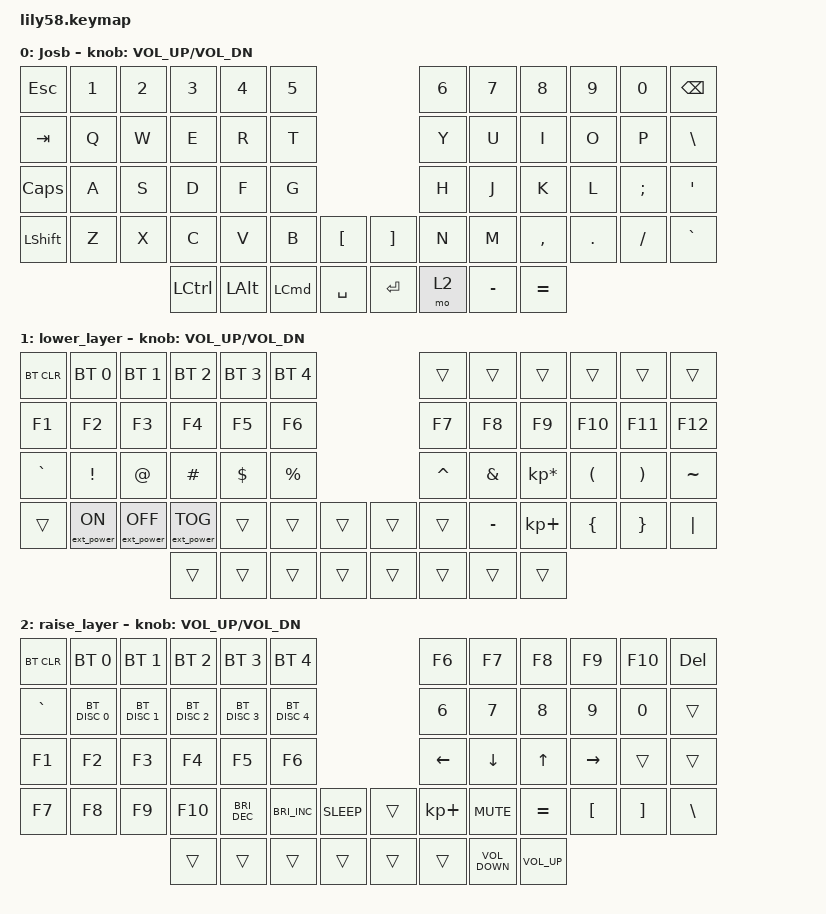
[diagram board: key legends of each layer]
/*
 * Copyright (c) 2020 The ZMK Contributors
 *
 * SPDX-License-Identifier: MIT
 */

#include <behaviors.dtsi>
#include <dt-bindings/zmk/bt.h>
#include <dt-bindings/zmk/ext_power.h>
#include <dt-bindings/zmk/keys.h>

/ {
    keymap {
        compatible = "zmk,keymap";

        Josb {
            // ------------------------------------------------------------------------------------------------------------
            // |  ESC  |  1  |  2  |  3   |  4   |  5   |                   |  6   |  7    |  8    |  9   |   0   |   `   |
            // |  TAB  |  Q  |  W  |  E   |  R   |  T   |                   |  Y   |  U    |  I    |  O   |   P   |   -   |
            // |  CTRL |  A  |  S  |  D   |  F   |  G   |                   |  H   |  J    |  K    |  L   |   ;   |   '   |
            // | SHIFT |  Z  |  X  |  C   |  V   |  B   |   "["  |  |  "]"  |  N   |  M    |  ,    |  .   |   /   | SHIFT |
            //                     | ALT  | GUI  | LOWER|  SPACE |  | ENTER | RAISE| BSPC  | GUI   |

            bindings = <
&kp ESC       &kp N1  &kp N2  &kp N3            &kp N4        &kp N5                                   &kp N6  &kp N7     &kp N8     &kp N9   &kp N0    &kp BACKSPACE
&kp TAB       &kp Q   &kp W   &kp E             &kp R         &kp T                                    &kp Y   &kp U      &kp I      &kp O    &kp P     &kp BACKSLASH
&kp CAPSLOCK  &kp A   &kp S   &kp D             &kp F         &kp G                                    &kp H   &kp J      &kp K      &kp L    &kp SEMI  &kp SQT
&kp LSHFT     &kp Z   &kp X   &kp C             &kp V         &kp B             &kp LBKT     &kp RBKT  &kp N   &kp M      &kp COMMA  &kp DOT  &kp FSLH  &kp GRAVE
                              &kp LEFT_CONTROL  &kp LEFT_ALT  &kp LEFT_COMMAND  &kp SPACE    &kp RET   &mo 2   &kp MINUS  &kp EQUAL
            >;

            sensor-bindings = <&inc_dec_kp C_VOL_UP C_VOL_DN>;
        };

        lower_layer {
            // ------------------------------------------------------------------------------------------------------------
            // | BTCLR | BT1 | BT2 |  BT3 |  BT4 |  BT5 |                   |      |       |       |      |       |       |
            // |  F1   |  F2 |  F3 |  F4  |  F5  |  F6  |                   |  F7  |  F8   |  F9   |  F10 |  F11  |  F12  |
            // |   `   |  !  |  @  |  #   |  $   |  %   |                   |  ^   |  &    |  *    |  (   |   )   |   ~   |
            // |       |     |     |      |      |      |        |  |       |      |  _    |  +    |  {   |   }   |  "|"  |
            //                     |      |      |      |        |  |       |      |       |       |

            bindings = <
&bt BT_CLR  &bt BT_SEL 0      &bt BT_SEL 1       &bt BT_SEL 2       &bt BT_SEL 3  &bt BT_SEL 4                    &trans     &trans     &trans           &trans    &trans    &trans
&kp F1      &kp F2            &kp F3             &kp F4             &kp F5        &kp F6                          &kp F7     &kp F8     &kp F9           &kp F10   &kp F11   &kp F12
&kp GRAVE   &kp EXCL          &kp AT             &kp HASH           &kp DOLLAR    &kp PRCNT                       &kp CARET  &kp AMPS   &kp KP_MULTIPLY  &kp LPAR  &kp RPAR  &kp TILDE
&trans      &ext_power EP_ON  &ext_power EP_OFF  &ext_power EP_TOG  &trans        &trans        &trans    &trans  &trans     &kp MINUS  &kp KP_PLUS      &kp LBRC  &kp RBRC  &kp PIPE
                                                 &trans             &trans        &trans        &trans    &trans  &trans     &trans     &trans
            >;

            sensor-bindings = <&inc_dec_kp C_VOL_UP C_VOL_DN>;
        };

        raise_layer {
            // ------------------------------------------------------------------------------------------------------------
            // |       |     |     |      |      |      |                   |      |       |       |      |       |       |
            // |   `   |  1  |  2  |  3   |  4   |  5   |                   |  6   |   7   |   8   |  9   |   0   |       |
            // |   F1  |  F2 |  F3 |  F4  |  F5  |  F6  |                   |      |   <-  |   v   |  ^   |  ->   |       |
            // |   F7  |  F8 |  F9 |  F10 |  F11 |  F12 |        |  |       |  +   |   -   |   =   |  [   |   ]   |   \   |
            //                     |      |      |      |        |  |       |      |       |       |

            bindings = <
&bt BT_CLR  &bt BT_SEL 0   &bt BT_SEL 1   &bt BT_SEL 2   &bt BT_SEL 3   &bt BT_SEL 4                                 &kp F6       &kp F7             &kp F8           &kp F9     &kp F10   &kp DELETE
&kp GRAVE   &bt BT_DISC 0  &bt BT_DISC 1  &bt BT_DISC 2  &bt BT_DISC 3  &bt BT_DISC 4                                &kp N6       &kp N7             &kp N8           &kp N9     &kp N0    &trans
&kp F1      &kp F2         &kp F3         &kp F4         &kp F5         &kp F6                                       &kp LEFT     &kp DOWN           &kp UP           &kp RIGHT  &trans    &trans
&kp F7      &kp F8         &kp F9         &kp F10        &kp C_BRI_DEC  &kp C_BRIGHTNESS_INC  &kp C_SLEEP    &trans  &kp KP_PLUS  &kp K_MUTE         &kp EQUAL        &kp LBKT   &kp RBKT  &kp BSLH
                                          &trans         &trans         &trans                &trans         &trans  &trans       &kp C_VOLUME_DOWN  &kp C_VOLUME_UP
            >;

            sensor-bindings = <&inc_dec_kp C_VOL_UP C_VOL_DN>;
        };
    };
};
